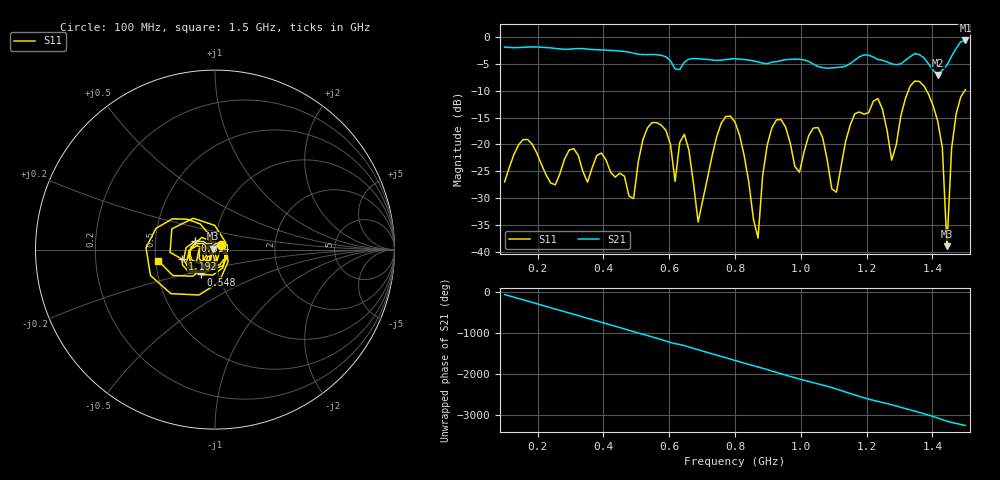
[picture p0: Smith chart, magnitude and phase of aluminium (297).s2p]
! NanoVNA-App
! Date: 2025-09-25 14:57:35
! Start: 100MHz Stop: 1,5GHz Points: 101
! S-Parameter data: F S11 S21 S12 S22
# Hz S RI R 50
!  Frequency  S11_Real  S11_Imag  S21_Real  S21_Imag  S12_Real  S12_Imag  S22_Real  S22_Imag
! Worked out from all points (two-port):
!   101 points, 100 MHz to 1.5 GHz, reference 50 ohm
!   highest |S21| = -0.69 dB at 1.5 GHz (marker M1); lowest = -7.1 dB at 1.416 GHz (marker M2)
!   |S21| within 3 dB of the highest: start of sweep to 589.2 MHz; 1.458 GHz to end of sweep (the widest 2 of 4)
!   lowest |S11| = -38.9 dB at 1.444 GHz (marker M3), VSWR 1.02, Z = 49 + j0.425 ohm
!   |S11| at or under -10 dB: start of sweep to 1.327 GHz; 1.382 GHz to 1.498 GHz (116.4 MHz wide, 8.08 % of centre)
!   S12 and S22 are empty: the file has one direction only
!   S11 on the Smith chart (normalised r, x): 100 MHz: 1.07, +0.06; 548 MHz: 0.82, -0.23; 814 MHz: 0.79, +0.07; 1.192 GHz: 0.69, -0.07; 1.5 GHz: 0.52, -0.07
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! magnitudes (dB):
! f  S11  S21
! 100 MHz  -27.0  -1.9
! 338 MHz  -25.1  -2.2
! 492 MHz  -30.1  -3.1
! 548 MHz  -15.9  -3.3
! 576 MHz  -16.4  -3.5
! 618 MHz  -26.9  -6.0
! 646 MHz  -18.1  -4.7
! 688 MHz  -34.4  -4.1
! 800 MHz  -15.9  -4.1
! 814 MHz  -18.3  -4.2
! 870 MHz  -37.4  -4.7
! 912 MHz  -16.9  -4.7
! 996 MHz  -25.1  -4.2
! 1.038 GHz  -17.0  -5.1
! 1.108 GHz  -28.9  -5.7
! 1.192 GHz  -14.4  -3.4
! 1.276 GHz  -22.9  -5.1
! 1.346 GHz  -8.2  -3.2
! 1.416 GHz  -15.7  -7.1
! 1.444 GHz  -38.9  -5.3
! 1.458 GHz  -20.7  -3.6
! 1.5 GHz  -9.8  -0.7
